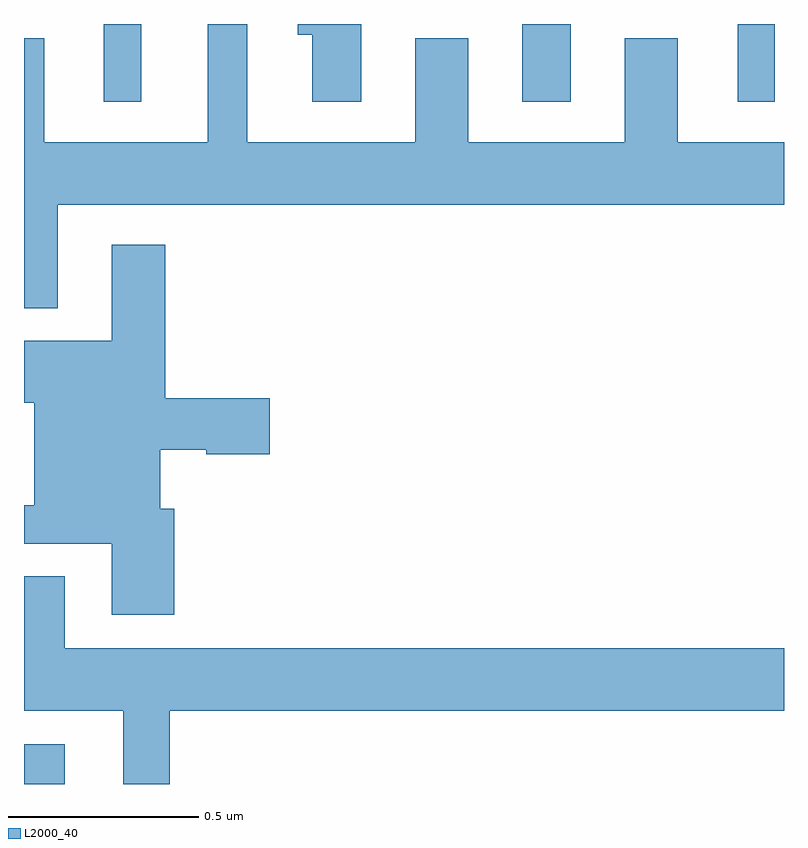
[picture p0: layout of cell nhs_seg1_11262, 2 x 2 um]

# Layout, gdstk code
import gdstk
lib = gdstk.Library(unit=1e-6, precision=1e-09)
def R(c, l, rs):  # rectangles x0, y0, x1, y1
    for r in rs: c.add(gdstk.rectangle(r[:2], r[2:], *l))
def P(c, l, *ps):  # polygons
    for p in ps: c.add(gdstk.Polygon(p, *l))
L2000_40 = (2000, 40)

nhs_seg1_11262 = lib.new_cell('nhs_seg1_11262')
R(nhs_seg1_11262, L2000_40, [(251,558.199,251.107,558.304), (251.21,559.995,251.308,560.199), (252.311,559.995,252.439,560.199), (252.878,559.995,252.976,560.199)])
P(nhs_seg1_11262, L2000_40, [(251.089,559.724),(253,559.724),(253,559.888),(252.721,559.888),(252.721,560.161),(252.581,560.161),(252.581,559.888),(252.169,559.888),(252.169,560.161),(252.029,560.161),(252.029,559.888),(251.587,559.888),(251.587,560.199),(251.483,560.199),(251.483,559.888),(251.053,559.888),(251.053,560.161),(251,560.161),(251,559.451),(251.089,559.451)],
  [(251.887,560.199),(251.72,560.199),(251.72,560.171),(251.759,560.171),(251.759,559.995),(251.887,559.995)],
  [(251.396,558.924),(251.359,558.924),(251.359,559.079),(251.479,559.079),(251.479,559.067),(251.647,559.067),(251.647,559.214),(251.372,559.214),(251.372,559.618),(251.231,559.618),(251.231,559.366),(251,559.366),(251,559.202),(251.027,559.202),(251.027,558.932),(251,558.932),(251,558.831),(251.231,558.831),(251.231,558.645),(251.396,558.645)],
  [(251.383,558.392),(253,558.392),(253,558.556),(251.107,558.556),(251.107,558.746),(251,558.746),(251,558.392),(251.261,558.392),(251.261,558.199),(251.383,558.199)])

lib.write_gds('nhs_seg1_11262.gds')
